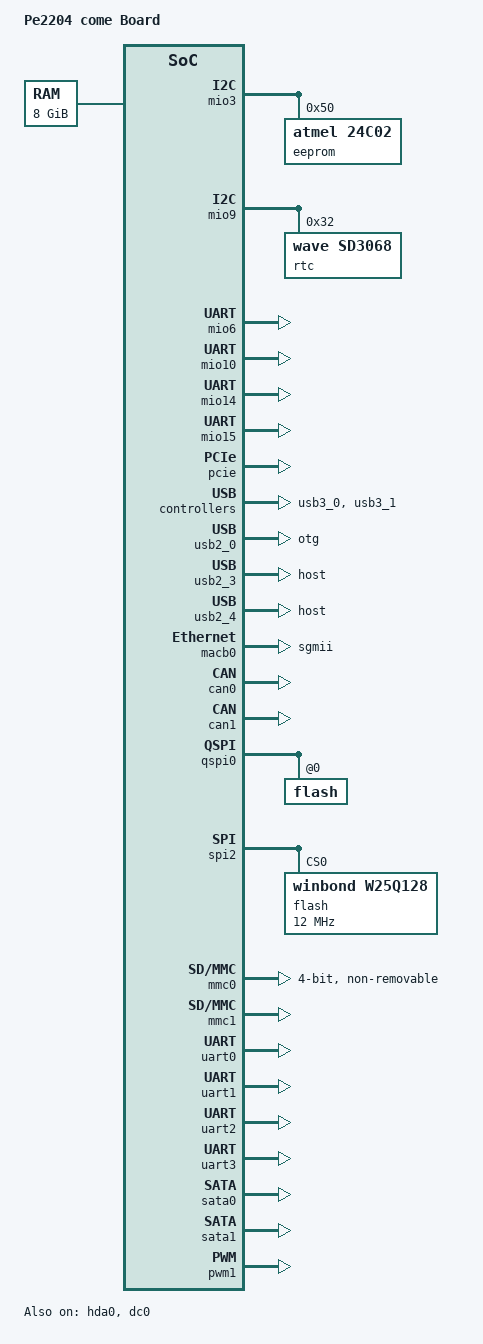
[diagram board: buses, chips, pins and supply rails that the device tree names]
// SPDX-License-Identifier: GPL-2.0
/*
 * DTS file for Phytium Pe2204 come board
 *
 * Copyright (c) 2022-2023 Phytium Technology Co., Ltd.
 *
 * Hongmin Qi <qihongmin@phytium.com.cn>
 *
 * This program is free software; you can redistribute it and/or
 * modify it under the terms of the GNU General Public License as
 * published by the Free Software Foundation; either version 2 of
 * the License, or (at your option) any later version.
 */

/dts-v1/;
/memreserve/ 0x80000000 0x10000;

#include "pe2204.dtsi"

/{
	model = "Pe2204 come Board";
	compatible = "phytium,pe2204";

	chosen {
		stdout-path = "serial1:115200n8";
	};

	memory@00{
		device_type = "memory";
		reg = <0x0 0x80000000 0x2 0x00000000>;
	};
};

&soc {
	mio3: i2c@2801a000 {
		status = "okay";
		compatible = "phytium,i2c";
		reg = <0x0 0x2801a000 0x0 0x1000>;
		interrupts = <GIC_SPI 95 IRQ_TYPE_LEVEL_HIGH>;
		clocks = <&sysclk_50mhz>;
		#address-cells = <1>;
		#size-cells = <0>;

		eeprom@50 {
			compatible = "atmel,24c02";
			reg = <0x50>;
			pagesize = <1>;
		};
	};

	mio9: i2c@28026000 {
		compatible = "phytium,i2c";
		reg = <0x0 0x28026000 0x0 0x1000>;
		interrupts = <GIC_SPI 101 IRQ_TYPE_LEVEL_HIGH>;
		clocks = <&sysclk_50mhz>;
		#address-cells = <1>;
		#size-cells = <0>;
		status = "okay";

		rtc@32 {
			compatible = "wave,sd3068";
			reg = <0x32>;
		};
	};

	mio6: uart@28020000 {
		compatible = "arm,pl011", "arm,primecell";
		reg = <0x0 0x28020000 0x0 0x1000>;
		interrupts = <GIC_SPI 98 IRQ_TYPE_LEVEL_HIGH>;
		clocks = <&sysclk_50mhz &sysclk_50mhz>;
		clock-names = "uartclk", "apb_pclk";
		status = "okay";
	};

	mio10: uart@28028000 {
		compatible = "arm,pl011", "arm,primecell";
		reg = <0x0 0x28028000 0x0 0x1000>;
		interrupts = <GIC_SPI 102 IRQ_TYPE_LEVEL_HIGH>;
		clocks = <&sysclk_50mhz &sysclk_50mhz>;
		clock-names = "uartclk", "apb_pclk";
		status = "okay";
	};

	mio14: uart@28030000 {
		compatible = "arm,pl011", "arm,primecell";
		reg = <0x0 0x28030000 0x0 0x1000>;
		interrupts = <GIC_SPI 106 IRQ_TYPE_LEVEL_HIGH>;
		clocks = <&sysclk_50mhz &sysclk_50mhz>;
		clock-names = "uartclk", "apb_pclk";
		status = "okay";
	};

	mio15: uart@28032000 {
		compatible = "arm,pl011", "arm,primecell";
		reg = <0x0 0x28032000 0x0 0x1000>;
		interrupts = <GIC_SPI 107 IRQ_TYPE_LEVEL_HIGH>;
		clocks = <&sysclk_50mhz &sysclk_50mhz>;
		clock-names = "uartclk", "apb_pclk";
		status = "okay";
	};
};

&pcie {
	status = "okay";
};

&usb3_0 {
	status = "okay";
};

&usb3_1 {
	status = "okay";
};

&usb2_0 {
	dr_mode = "otg";
	status = "okay";
};

&usb2_3 {
	dr_mode = "host";
	status = "okay";
};

&usb2_4 {
	dr_mode = "host";
	status = "okay";
};

&macb0 {
	phy-mode = "sgmii";
	use-mii;
	status = "okay";
};

&macb1 {
	phy-mode = "sgmii";
	use-mii;
	status = "disabled";
};

&macb2 {
	phy-mode = "rgmii";
	use-mii;
	status = "disabled";
};

&macb3 {
	phy-mode = "rgmii";
	use-mii;
	status = "disabled";
};

&can0 {
	status = "okay";
};

&can1 {
	status = "okay";
};

&qspi0 {
	status = "okay";

	flash@0 {
		status = "okay";
	};
};

&spi0 {
	global-cs = <1>;
	status = "disabled";
};

&spi2 {
	global-cs = <1>;
	status = "okay";

	flash: w25q128@0 {
		compatible = "winbond,w25q128", "jedec,spi-nor";
		spi-tx-bus-width = <1>;
		spi-rx-bus-width = <1>;
		spi-max-frequency = <12000000>;
		reg = <0x00>;
	};
};

&mmc0 {
	bus-width = <4>;
	max-frequency = <25000000>;
	cap-mmc-hw-reset;
	cap-mmc-highspeed;
	no-sdio;
	no-sd;
	non-removable;
	status = "okay";
};

&mmc1 {
	status = "okay";
};

&uart0 {
	status = "okay";
};

&uart1 {
	status = "okay";
};

&uart2 {
	status = "okay";
};

&uart3 {
	status = "okay";
};

&sata0 {
	status = "okay";
};

&sata1 {
	status = "okay";
};

&hda0 {
	status = "okay";
};

&dc0 {
	status = "okay";
	pipe_mask = [03];
	edp_mask = [00];
};

&gpio0 {
	status = "okay";
};

&gpio1 {
	status = "okay";
};

&gpio2 {
	status = "okay";
};

&gpio3 {
	status = "okay";
};

&gpio4 {
	status = "okay";
};

&gpio5 {
	status = "okay";
};

&pwm1 {
	phytium,db = <0 0 0 1000 1000 0>;
	status = "okay";
};

